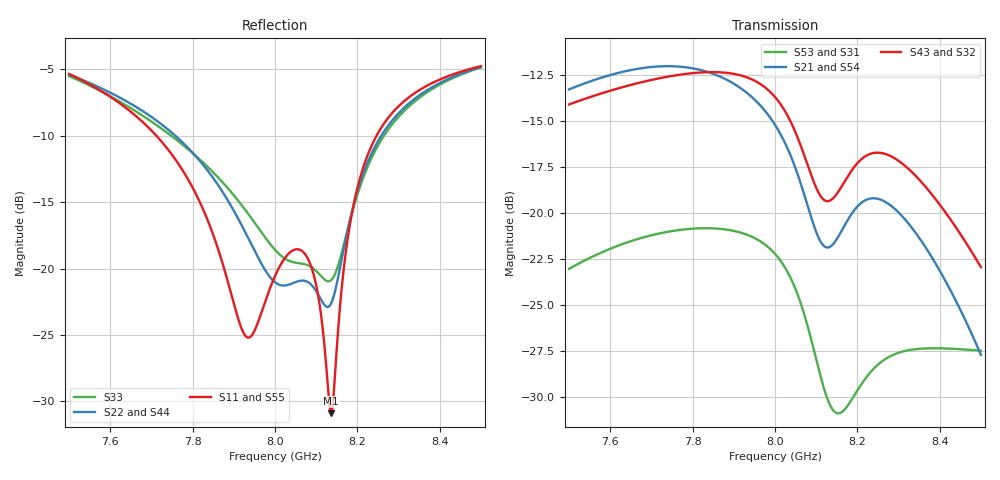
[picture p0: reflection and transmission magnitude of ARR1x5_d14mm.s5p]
! Touchstone file exported from HFSS 2025.1.0
!  File:  C:/Users/user/Documents/Ansoft/TFG_UWB-MIMO-Array.aedt
!  Generated:  09:03:11 PM Nov 21, 2026
!  Design:  ARR1x5_US3_PS4_2_1_dparam
!  Project:  TFG_UWB-MIMO-Array
!  Setup:  Setup_ch9
!  Solution:  Sweep_7p5_8p5
! Variables:
!  arr_d = 14mm
!  board_m = 13mm
!  board_x = 82mm
!  board_y = 26mm
!  cu_t = 0.035mm
!  line_w = 3.92mm
!  pad_xy = 22mm
!  pad_zn = 25mm
!  pad_zp = 33mm
!  par_L = 7.46mm
!  par_W = 10mm
!  par_yc = 0.75mm
!  par_z = 1.035mm
!  patch_L = 6.222mm
!  patch_W = 11.421266mm
!  sub_h = 2.07mm
!  tr_l = 6.6mm
!  tr_w = 0.8mm
!  u_Lu = 2.65mm
!  u_Wu = 4.4mm
!  u_t = 0.8mm
!  u_y0 = -0.7mm
# GHz S MA R 50.000000
! Terminal data exported
! Port[1] = P1
! Port[2] = P2
! Port[3] = P3
! Port[4] = P4
! Port[5] = P5
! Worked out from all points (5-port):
!   1001 points, 7.5 GHz to 8.5 GHz, reference 50 ohm
!   strongest paths, dB at 7.5 GHz, 7.75 GHz, 8 GHz, 8.25 GHz, 8.5 GHz:
!     S43: -14.1, -12.5, -13.7, -16.7, -23.0
!     S32: -14.1, -12.5, -13.6, -16.7, -22.9
!     S21: -13.3, -12.0, -15.2, -19.2, -27.7
!     S54: -13.3, -12.0, -15.3, -19.2, -27.7
!     S53: -23.0, -21.0, -22.2, -28.3, -27.5
!     S31: -23.1, -21.0, -22.2, -28.3, -27.5
!   lowest |S11| = -30.9 dB at 8.136 GHz (marker M1), VSWR 1.06, Z = 51.8 + j2.31 ohm
!   |S11| at or under -10 dB: 7.712 GHz to 8.247 GHz (534.7 MHz wide, 6.7 % of centre)
